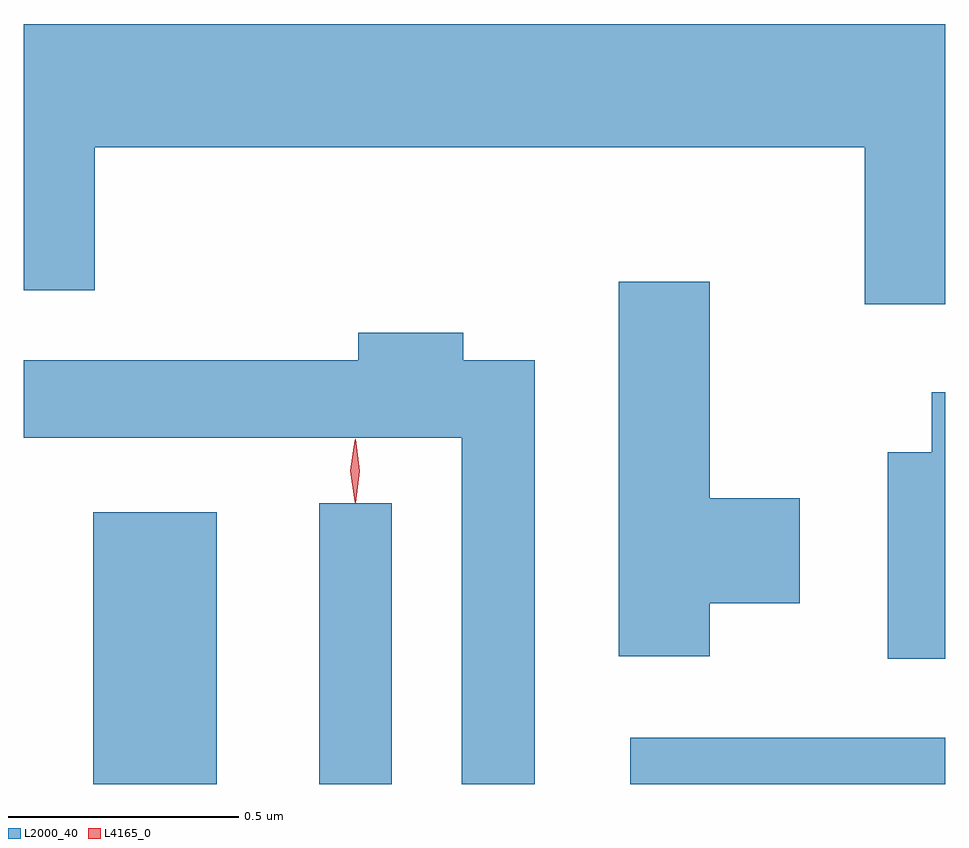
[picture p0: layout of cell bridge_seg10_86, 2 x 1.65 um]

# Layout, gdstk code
import gdstk
lib = gdstk.Library(unit=1e-6, precision=1e-09)
def R(c, l, rs):  # rectangles x0, y0, x1, y1
    for r in rs: c.add(gdstk.rectangle(r[:2], r[2:], *l))
def P(c, l, *ps):  # polygons
    for p in ps: c.add(gdstk.Polygon(p, *l))
L2000_40 = (2000, 40)
L4165_0 = (4165, 0)

bridge_seg10_86 = lib.new_cell('bridge_seg10_86')
R(bridge_seg10_86, L2000_40, [(1583.896,2194.674,1584.164,2195.264), (1584.386,2194.674,1584.544,2195.283), (1585.061,2194.674,1585.745,2194.774)])
P(bridge_seg10_86, L2000_40, [(1585.745,2196.324),(1583.745,2196.324),(1583.745,2195.746),(1583.899,2195.746),(1583.899,2196.056),(1585.571,2196.056),(1585.571,2195.716),(1585.745,2195.716)],
  [(1585.234,2195.066),(1585.429,2195.066),(1585.429,2195.294),(1585.234,2195.294),(1585.234,2195.764),(1585.036,2195.764),(1585.036,2194.951),(1585.234,2194.951)],
  [(1584.854,2195.594),(1584.699,2195.594),(1584.699,2195.654),(1584.471,2195.654),(1584.471,2195.594),(1583.745,2195.594),(1583.745,2195.426),(1584.696,2195.426),(1584.696,2194.674),(1584.854,2194.674)],
  [(1585.745,2195.524),(1585.716,2195.524),(1585.716,2195.394),(1585.621,2195.394),(1585.621,2194.946),(1585.745,2194.946)])
P(bridge_seg10_86, L4165_0, [(1584.464,2195.284),(1584.464,2195.284),(1584.454,2195.354),(1584.464,2195.422),(1584.464,2195.423),(1584.465,2195.422),(1584.474,2195.354),(1584.465,2195.284)],
  [(1584.463,2195.287),(1584.454,2195.354),(1584.463,2195.42),(1584.464,2195.42),(1584.464,2195.42),(1584.473,2195.354),(1584.464,2195.287),(1584.464,2195.287)])

lib.write_gds('bridge_seg10_86.gds')
